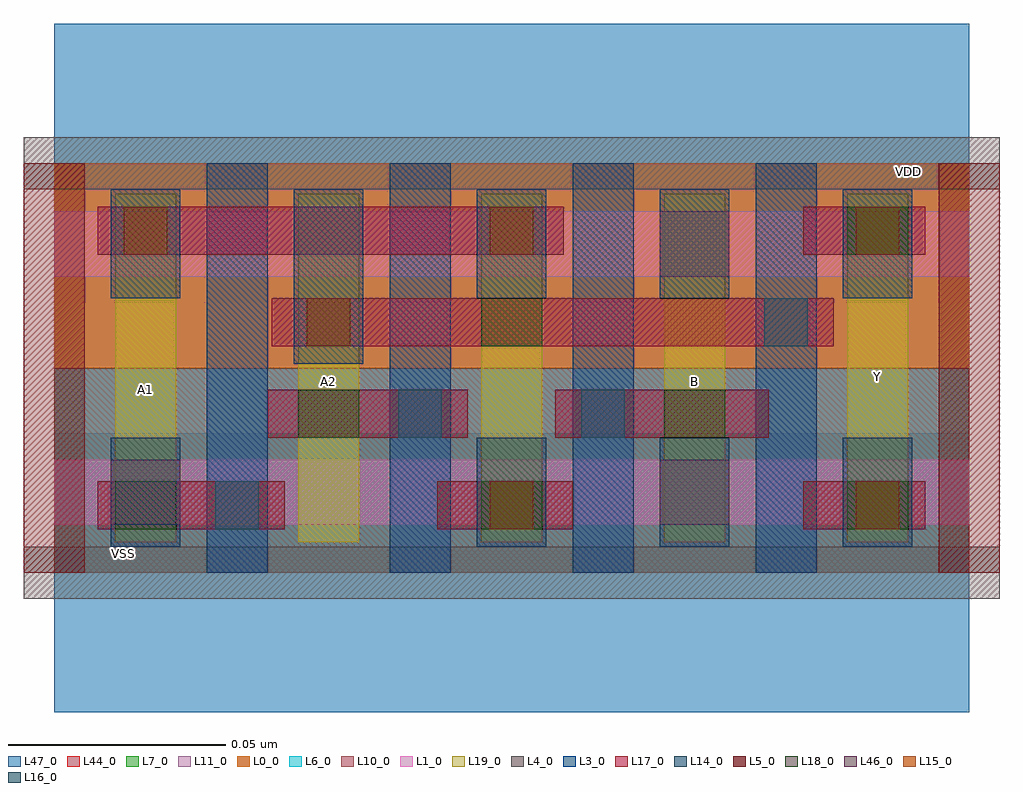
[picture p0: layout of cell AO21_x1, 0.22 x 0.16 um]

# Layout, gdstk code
import gdstk
lib = gdstk.Library(unit=1e-6, precision=5e-10)
def R(c, l, rs):  # rectangles x0, y0, x1, y1
    for r in rs: c.add(gdstk.rectangle(r[:2], r[2:], *l))
def A(c, l, x, y, w, h, nx, ny, dx, dy):  # array of equal rectangles
    R(c, l, [(x+i*dx, y+j*dy, x+i*dx+w, y+j*dy+h) for i in range(nx) for j in range(ny)])
L0_0 = (0, 0)
L1_0 = (1, 0)
L3_0 = (3, 0)
L4_0 = (4, 0)
L5_0 = (5, 0)
L6_0 = (6, 0)
L7_0 = (7, 0)
L10_0 = (10, 0)
L11_0 = (11, 0)
L14_0 = (14, 0)
L15_0 = (15, 0)
L16_0 = (16, 0)
L17_0 = (17, 0)
L18_0 = (18, 0)
L19_0 = (19, 0)
L44_0 = (44, 0)
L46_0 = (46, 0)
L47_0 = (47, 0)

ao21_x1 = lib.new_cell('AO21_x1')
R(ao21_x1, L0_0, [(0,0.047,0.21,0.094)])
R(ao21_x1, L1_0, [(0,0.011,0.21,0.026), (0,0.068,0.21,0.083)])
A(ao21_x1, L3_0, 0.035, 0, 0.014, 0.094, 4, 1, 0.042, 0)
R(ao21_x1, L4_0, [(-0.007,-0.006,0.217,0.006), (-0.007,0.088,0.217,0.1)])
R(ao21_x1, L5_0, [(-0.007,0,0.007,0.094), (0.203,0,0.217,0.094)])
R(ao21_x1, L6_0, [(0,0,0.21,0.047)])
R(ao21_x1, L7_0, [(0,0.047,0.21,0.094)])
R(ao21_x1, L10_0, [(0,0,0.21,0.047)])
R(ao21_x1, L11_0, [(0,0.047,0.21,0.094)])
A(ao21_x1, L14_0, 0.097, 0.006, 0.016, 0.025, 3, 2, 0.042, 0.057)
R(ao21_x1, L14_0, [(0.013,0.006,0.029,0.031), (0.055,0.048,0.071,0.088), (0.013,0.063,0.029,0.088)])
A(ao21_x1, L15_0, 0.016, 0.073, 0.01, 0.011, 3, 1, 0.084, 0)
R(ao21_x1, L15_0, [(0.1,0.01,0.11,0.021), (0.184,0.01,0.194,0.021), (0.058,0.052,0.068,0.063)])
R(ao21_x1, L16_0, [(0.037,0.01,0.047,0.021), (0.079,0.031,0.089,0.042), (0.121,0.031,0.131,0.042), (0.163,0.052,0.173,0.063)])
R(ao21_x1, L17_0, [(0.01,0.01,0.053,0.021), (0.088,0.01,0.119,0.021), (0.172,0.01,0.2,0.021), (0.049,0.031,0.095,0.042), (0.115,0.031,0.164,0.042), (0.05,0.052,0.179,0.063), (0.01,0.073,0.117,0.084), (0.172,0.073,0.2,0.084)])
A(ao21_x1, L18_0, 0.014, 0.01, 0.014, 0.011, 3, 1, 0.084, 0)
R(ao21_x1, L18_0, [(0.056,0.031,0.07,0.042), (0.14,0.031,0.154,0.042), (0.098,0.052,0.112,0.063), (0.182,0.073,0.196,0.084)])
A(ao21_x1, L19_0, 0.014, 0.007, 0.014, 0.08, 5, 1, 0.042, 0)
R(ao21_x1, L44_0, [(0,0,0.21,0.094)])
R(ao21_x1, L46_0, [(0.013,0.011,0.029,0.026), (0.139,0.011,0.155,0.026), (0.139,0.068,0.155,0.083)])
R(ao21_x1, L47_0, [(0,-0.032,0.21,0.032), (0,0.062,0.21,0.126)])
ao21_x1.add(gdstk.Label('VDD', (0.196,0.092), layer=0, texttype=2))
ao21_x1.add(gdstk.Label('A1', (0.021,0.042), layer=19, texttype=2))
ao21_x1.add(gdstk.Label('A2', (0.063,0.044), layer=19, texttype=2))
ao21_x1.add(gdstk.Label('B', (0.147,0.044), layer=19, texttype=2))
ao21_x1.add(gdstk.Label('Y', (0.189,0.045), layer=19, texttype=2))
ao21_x1.add(gdstk.Label('VDD', (0.196,0.091), layer=47, texttype=2))
ao21_x1.add(gdstk.Label('VSS', (0.016,0.0045), layer=47, texttype=2))
ao21_x1.add(gdstk.Label('VSS', (0.015,0.003), layer=54, texttype=2))

lib.write_gds('AO21_x1.gds')
